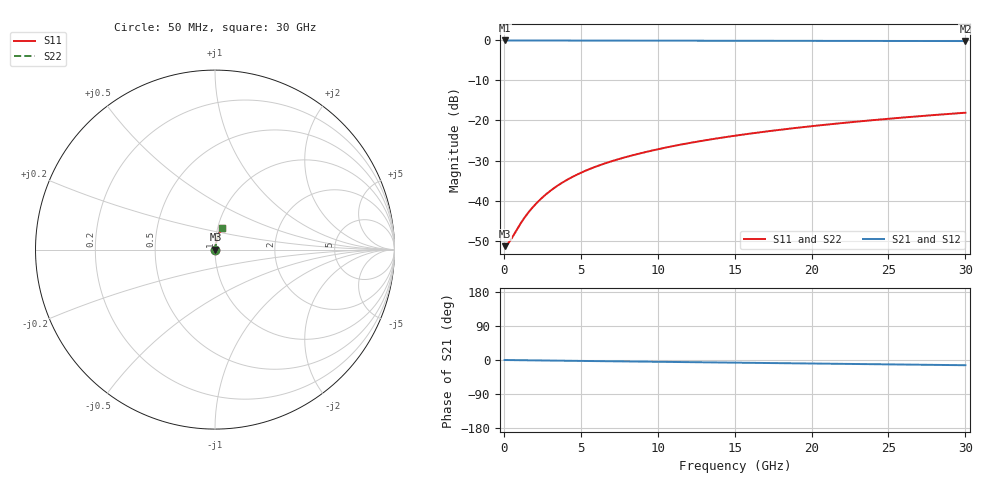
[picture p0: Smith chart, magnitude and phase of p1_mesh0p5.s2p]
#  Hz  S  RI  R  50
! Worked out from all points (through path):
!   600 points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, 50 MHz to 30 GHz, reference 50 ohm
!   highest |S21| = -0.03 dB at 50 MHz (marker M1); lowest = -0.2 dB at 30 GHz (marker M2)
!   group delay of S21, straight-line fit = 1.26 ps
!   lowest |S11| = -51.4 dB at 50 MHz (marker M3), VSWR 1.01, Z = 50.3 + j0.0204 ohm
!   |S11| at or under -10 dB: start of sweep to end of sweep
!   |S22| runs from -51.4 to -18.1 dB; largest |S21 - S12| = 4.2e-07
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5e7  0.00269 0.000203  0.9964 -0.000466  0.9964 -0.000466  0.00269 0.000203
2e8  0.00269 0.000814  0.9964 -0.00186  0.9964 -0.00186  0.00268 0.000814
3e8  0.00268 0.00122  0.9964 -0.00279  0.9964 -0.00279  0.00268 0.00122
4e8  0.00267 0.00163  0.9964 -0.00372  0.9964 -0.00372  0.00267 0.00163
1.1e9  0.0026 0.00452  0.996 -0.0101  0.996 -0.0101  0.0026 0.00452
1.55e9  0.00253 0.00644  0.9956 -0.0142  0.9956 -0.0142  0.00253 0.00644
1.95e9  0.00248 0.00817  0.9952 -0.0176  0.9952 -0.0176  0.00248 0.00817
2.35e9  0.00246 0.00995  0.9948 -0.0211  0.9948 -0.0211  0.00246 0.00995
2.9e9  0.00249 0.0124  0.9942 -0.0256  0.9942 -0.0256  0.00249 0.0124
3.55e9  0.00262 0.0154  0.9936 -0.0309  0.9936 -0.0309  0.00262 0.0154
4.25e9  0.00289 0.0186  0.9929 -0.0364  0.9929 -0.0364  0.00289 0.0186
5.05e9  0.00334 0.0222  0.9922 -0.0427  0.9922 -0.0427  0.00334 0.0222
6.05e9  0.00403 0.0265  0.9914 -0.0506  0.9914 -0.0506  0.00403 0.0265
7.2e9  0.00492 0.0314  0.9904 -0.0598  0.9904 -0.0598  0.00492 0.0314
8.55e9  0.00603 0.037  0.989 -0.0704  0.989 -0.0704  0.00603 0.037
1.005e10  0.00736 0.0432  0.9873 -0.0822  0.9873 -0.0822  0.00736 0.0432
1.24e10  0.00975 0.0528  0.9845 -0.1005  0.9845 -0.1005  0.00975 0.0528
1.505e10  0.0128 0.0633  0.9809 -0.121  0.9809 -0.121  0.0128 0.0633
1.745e10  0.0159 0.0727  0.9772 -0.1394  0.9772 -0.1394  0.0159 0.0727
2.005e10  0.0197 0.0827  0.9727 -0.1592  0.9727 -0.1592  0.0197 0.0827
2.505e10  0.0279 0.1014  0.9628 -0.1968  0.9628 -0.1968  0.0279 0.1014
3e10  0.0375 0.1191  0.951 -0.2334  0.951 -0.2334  0.0375 0.1191
